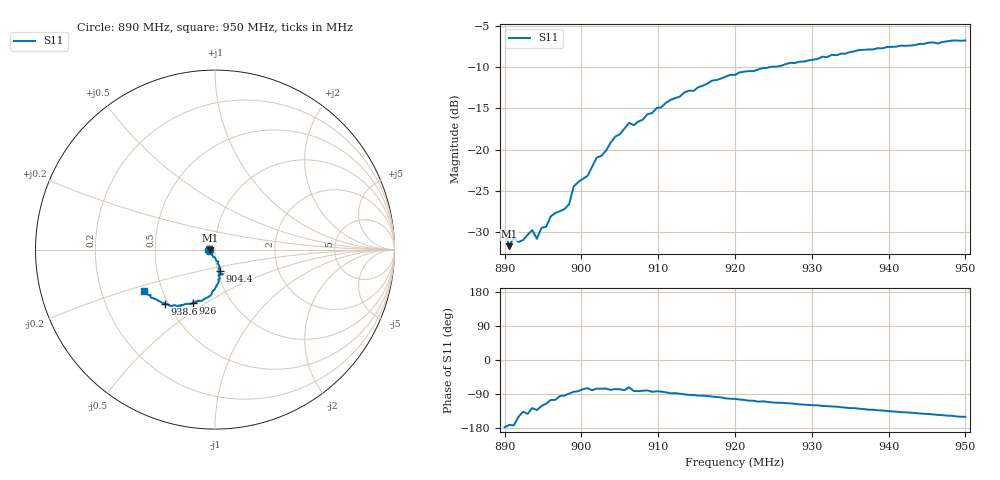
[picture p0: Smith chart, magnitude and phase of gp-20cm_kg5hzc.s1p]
# HZ S RI R 50
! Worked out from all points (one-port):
!   101 points, 890 MHz to 950 MHz, reference 50 ohm
!   lowest |S11| = -31.7 dB at 890.6 MHz (marker M1), VSWR 1.05, Z = 47.5 - j0.37 ohm
!   |S11| at or under -10 dB: start of sweep to 924.6 MHz
!   S11 on the Smith chart (normalised r, x): 890 MHz: 0.94, -0.00; 904.4 MHz: 1.03, -0.24; 926 MHz: 0.66, -0.44; 938.6 MHz: 0.48, -0.35; 950 MHz: 0.40, -0.23
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8.9e8  -0.0324 -0.00152
8.906e8  -0.0257 -0.00389
8.912e8  -0.0291 -0.00378
8.918e8  -0.0239 -0.0138
8.936e8  -0.0196 -0.026
8.942e8  -0.0194 -0.0214
8.948e8  -0.0176 -0.0286
8.954e8  -0.0145 -0.0308
8.96e8  -0.0106 -0.0379
8.978e8  -0.0029 -0.0435
8.984e8  0.00101 -0.0467
8.99e8  0.00638 -0.0594
9.008e8  0.0189 -0.0666
9.02e8  0.0225 -0.0868
9.026e8  0.0226 -0.0888
9.044e8  0.0275 -0.1165
9.05e8  0.0273 -0.1207
9.062e8  0.0453 -0.1378
9.068e8  0.0207 -0.139
9.128e8  0.00392 -0.209
9.17e8  -0.03 -0.2599
9.2e8  -0.0614 -0.2765
9.26e8  -0.1251 -0.2965
9.278e8  -0.1444 -0.3016
9.35e8  -0.2353 -0.311
9.386e8  -0.2799 -0.3013
9.428e8  -0.321 -0.2809
9.5e8  -0.3955 -0.2299
